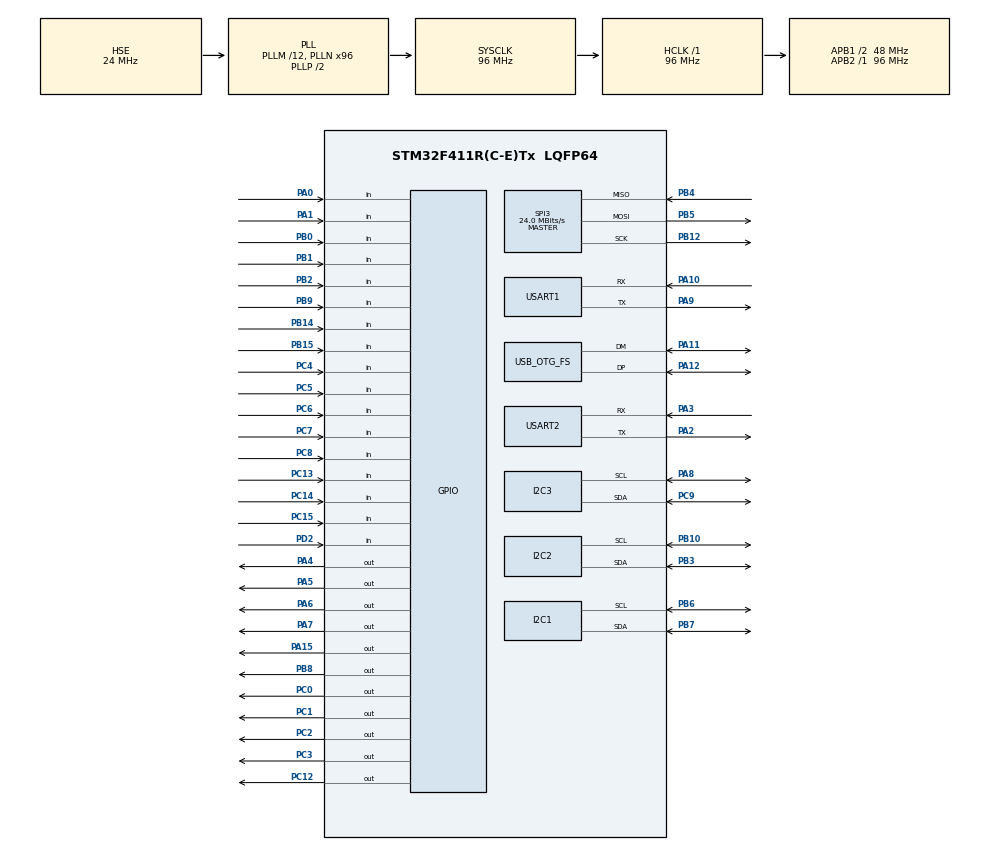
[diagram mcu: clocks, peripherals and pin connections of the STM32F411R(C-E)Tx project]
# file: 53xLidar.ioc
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I2C1.I2C_Mode=I2C_Fast
I2C2.I2C_Mode=I2C_Fast
I2C3.I2C_Mode=I2C_Fast
Mcu.Family=STM32F4
Mcu.Name=STM32F411R(C-E)Tx
Mcu.Package=LQFP64
NVIC.OTG_FS_IRQn=true\:0\:0\:false\:false\:true\:false\:true
NVIC.PriorityGroup=NVIC_PRIORITYGROUP_4
NVIC.USART1_IRQn=true\:0\:0\:false\:false\:true\:true\:true
PA0-WKUP.Signal=GPIO_Input
PA1.Signal=GPIO_Input
PA10.Mode=Asynchronous
PA10.Signal=USART1_RX
PA11.Mode=Device_Only
PA11.Signal=USB_OTG_FS_DM
PA12.Mode=Device_Only
PA12.Signal=USB_OTG_FS_DP
PA13.Mode=Serial_Wire
PA13.Signal=SYS_JTMS-SWDIO
PA14.Mode=Serial_Wire
PA14.Signal=SYS_JTCK-SWCLK
PA15.Signal=GPIO_Output
PA2.Mode=Asynchronous
PA2.Signal=USART2_TX
PA3.Mode=Asynchronous
PA3.Signal=USART2_RX
PA4.Signal=GPIO_Output
PA5.Signal=GPIO_Output
PA6.Signal=GPIO_Output
PA7.Signal=GPIO_Output
PA8.Mode=I2C
PA8.Signal=I2C3_SCL
PA9.Mode=Asynchronous
PA9.Signal=USART1_TX
PB0.Signal=GPIO_Input
PB1.Signal=GPIO_Input
PB10.Mode=I2C
PB10.Signal=I2C2_SCL
PB12.Mode=Full_Duplex_Master
PB12.Signal=SPI3_SCK
PB14.Signal=GPIO_Input
PB15.Signal=GPIO_Input
PB2.Signal=GPIO_Input
PB3.Mode=I2C
PB3.Signal=I2C2_SDA
PB4.Mode=Full_Duplex_Master
PB4.Signal=SPI3_MISO
PB5.Mode=Full_Duplex_Master
PB5.Signal=SPI3_MOSI
PB6.Mode=I2C
PB6.Signal=I2C1_SCL
PB7.Mode=I2C
PB7.Signal=I2C1_SDA
PB8.Signal=GPIO_Output
PB9.Signal=GPIO_Input
PC0.Signal=GPIO_Output
PC1.Signal=GPIO_Output
PC12.Signal=GPIO_Output
PC13-ANTI_TAMP.Signal=GPIO_Input
PC14-OSC32_IN.Signal=GPIO_Input
PC15-OSC32_OUT.Signal=GPIO_Input
PC2.Signal=GPIO_Output
PC3.Signal=GPIO_Output
PC4.Signal=GPIO_Input
PC5.Signal=GPIO_Input
PC6.Signal=GPIO_Input
PC7.Signal=GPIO_Input
PC8.Signal=GPIO_Input
PC9.Mode=I2C
PC9.Signal=I2C3_SDA
PD2.Signal=GPIO_Input
PH0\ -\ OSC_IN.Mode=HSE-External-Oscillator
PH0\ -\ OSC_IN.Signal=RCC_OSC_IN
PH1\ -\ OSC_OUT.Mode=HSE-External-Oscillator
PH1\ -\ OSC_OUT.Signal=RCC_OSC_OUT
ProjectManager.HeapSize=0x200
ProjectManager.StackSize=0x400
ProjectManager.TargetToolchain=STM32CubeIDE
RCC.48MHZClocksFreq_Value=48000000
RCC.AHBFreq_Value=96000000
RCC.APB1CLKDivider=RCC_HCLK_DIV2
RCC.APB1Freq_Value=48000000
RCC.APB1TimFreq_Value=96000000
RCC.APB2Freq_Value=96000000
RCC.APB2TimFreq_Value=96000000
RCC.CortexFreq_Value=96000000
RCC.HCLKFreq_Value=96000000
RCC.HSE_VALUE=24000000
RCC.HSI_VALUE=16000000
RCC.LSE_VALUE=32768
RCC.PLLM=12
RCC.PLLN=96
RCC.SYSCLKFreq_VALUE=96000000
RCC.SYSCLKSource=RCC_SYSCLKSOURCE_PLLCLK
RCC.VCOOutputFreq_Value=192000000
SPI3.BaudRatePrescaler=SPI_BAUDRATEPRESCALER_2
SPI3.CalculateBaudRate=24.0 MBits/s
SPI3.Direction=SPI_DIRECTION_2LINES
SPI3.Mode=SPI_MODE_MASTER
SPI3.VirtualType=VM_MASTER
USART1.VirtualMode=VM_ASYNC
USART2.VirtualMode=VM_ASYNC
USB_DEVICE.CLASS_NAME_FS=CDC
USB_DEVICE.VirtualMode=Cdc
USB_DEVICE.VirtualModeFS=Cdc_FS
USB_OTG_FS.VirtualMode=Device_Only
VP_USB_DEVICE_VS_USB_DEVICE_CDC_FS.Mode=CDC_FS
board=custom

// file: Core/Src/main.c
/* USER CODE BEGIN Header */
/**
  ******************************************************************************
  * @file           : main.c
  * @brief          : Main program body
  ******************************************************************************
  * @attention
  *
  * <h2><center>&copy; Copyright (c) 2020 STMicroelectronics.
  * All rights reserved.</center></h2>
  *
  * This software component is licensed by ST under Ultimate Liberty license
  * SLA0044, the "License"; You may not use this file except in compliance with
  * the License. You may obtain a copy of the License at:
  *                             www.st.com/SLA0044
  *
  ******************************************************************************
  */
/* USER CODE END Header */

#include "main.h"
#include "usb_device.h"

/* USER CODE BEGIN Includes */
#include "VL53L1X_api.h"

#include "WS2812.h"
/* USER CODE END Includes */

I2C_HandleTypeDef hi2c1;
I2C_HandleTypeDef hi2c2;
I2C_HandleTypeDef hi2c3;

SPI_HandleTypeDef hspi3;

UART_HandleTypeDef huart1;
UART_HandleTypeDef huart2;

void SystemClock_Config(void);
static void MX_GPIO_Init(void);
static void MX_I2C1_Init(void);
static void MX_I2C2_Init(void);
static void MX_I2C3_Init(void);
static void MX_SPI3_Init(void);
static void MX_USART1_UART_Init(void);
static void MX_USART2_UART_Init(void);

/* USER CODE BEGIN 0 */
struct Gpio {
	GPIO_TypeDef * const port;
	const uint16_t mask;
};

struct Gpio leds = { GPIOA, GPIO_PIN_15 };

struct Gpio xshut[] = { { GPIOC, GPIO_PIN_0 }, { GPIOC, GPIO_PIN_1 }, { GPIOC,
GPIO_PIN_2 }, { GPIOC, GPIO_PIN_3 }, { GPIOA, GPIO_PIN_4 }, { GPIOA,
GPIO_PIN_5 }, { GPIOA, GPIO_PIN_6 }, { GPIOA, GPIO_PIN_7 }, };
/*
 uint8_t interruptLidar[] = {
 PC4, PC5, PB0, PB1, PB2, PB14, PB15, PC6, PC7, PC8, PC15, PC13, PC14, PB9, PA0, PA1
 };
 */

struct {
	uint16_t dev;
	uint8_t valid;
} sensors[16];

int enableSensor(int i) {

	uint16_t dev = 0x29 << 1;
	if (i >= 8) {
		dev |= 0x100; //if 9th bit is 0 it will use I2C1,if 1 will use i2c2
	}

	VL53L1X_Error err;
	uint8_t is_booted = 0;
	do{
		err = VL53L1X_BootState(dev, &is_booted);
		HAL_Delay(2);
	}while(!is_booted && err == VL53L1_ERROR_NONE);

	if (err != VL53L1_ERROR_NONE) {
		uint8_t msg[] = "VL53L1X_BootState failed    \n";
		uint8_t len = sizeof(msg) - 1;
		msg[len - 1 - 1] = i + '0';
		msg[len - 3 - 1] = err + '0';
		HAL_UART_Transmit(&huart1, msg, len, 0xFFFF);
		return 1;
	} else {
		uint8_t msg[] = "VL53L1X_BootState OK  \n";
		uint8_t len = sizeof(msg) - 1;
		msg[len - 1 - 1] = i + '0';
		HAL_UART_Transmit(&huart1, msg, len, 0xFFFF);
	}

	/* Sensor Initialization */
	err = VL53L1X_SensorInit(dev);
	if (err != VL53L1_ERROR_NONE) {
		uint8_t msg[] = "VL53L1X_SensorInit failed    \n";
		uint8_t len = sizeof(msg) - 1;
		msg[len - 1 - 1] = i + '0';
		msg[len - 3 - 1] = err + '0';
		HAL_UART_Transmit(&huart1, msg, len, 0xFFFF);
		return 3;
	} else {
		uint8_t msg[] = "VL53L1X_SensorInit OK  \n";
		uint8_t len = sizeof(msg) - 1;
		msg[len - 1 - 1] = i + '0';
		HAL_UART_Transmit(&huart1, msg, len, 0xFFFF);
	}

	/* Modify the default configuration */
	err = VL53L1X_SetI2CAddress(dev, (0x29 + i + 1) << 1);
	dev = (0x29 + i + 1) << 1;
	if (i >= 8) {
		dev |= 0x100; //if 9th bit is 0 it will use I2C1,if 1 will use i2c2
	}
	if (err != VL53L1_ERROR_NONE) {
		uint8_t msg[] = "VL53L1X_SetI2CAddress failed    \n";
		uint8_t len = sizeof(msg) - 1;
		msg[len - 1 - 1] = i + '0';
		msg[len - 3 - 1] = err + '0';
		HAL_UART_Transmit(&huart1, msg, len, 0xFFFF);
		return 2;
	} else {
		uint8_t msg[] = "VL53L1X_SetI2CAddress OK  \n";
		uint8_t len = sizeof(msg) - 1;
		msg[len - 1 - 1] = i + '0';
		HAL_UART_Transmit(&huart1, msg, len, 0xFFFF);
	}

	err = VL53L1X_SetDistanceMode(dev, 2); // 2 = VL53L1X_DISTANCEMODE_LONG
	if (err != VL53L1_ERROR_NONE) {
		uint8_t msg[] = "VL53L1X_SetDistanceMode failed    \n";
		uint8_t len = sizeof(msg) - 1;
		msg[len - 1 - 1] = i + '0';
		msg[len - 3 - 1] = err + '0';
		HAL_UART_Transmit(&huart1, msg, len, 0xFFFF);
		return 5;
	} else {
		uint8_t msg[] = "VL53L1X_SetDistanceMode OK  \n";
		uint8_t len = sizeof(msg) - 1;
		msg[len - 1 - 1] = i + '0';
		HAL_UART_Transmit(&huart1, msg, len, 0xFFFF);
	}

	err = VL53L1X_SetTimingBudgetInMs(dev, 20);
	if (err != VL53L1_ERROR_NONE) {
		uint8_t msg[] =
				"VL53L1X_SetTimingBudgetInMs failed    \n";
		uint8_t len = sizeof(msg) - 1;
		msg[len - 1 - 1] = i + '0';
		msg[len - 3 - 1] = err + '0';
		HAL_UART_Transmit(&huart1, msg, len, 0xFFFF);
		return 6;
	} else {
		uint8_t msg[] = "VL53L1X_SetTimingBudgetInMs OK  \n";
		uint8_t len = sizeof(msg) - 1;
		msg[len - 1 - 1] = i + '0';
		HAL_UART_Transmit(&huart1, msg, len, 0xFFFF);
	}

	err = VL53L1X_SetInterMeasurementInMs(dev, 25);
	if (err != VL53L1_ERROR_NONE) {
		uint8_t msg[] =
				"VL53L1X_SetInterMeasurementInMs failed    \n";
		uint8_t len = sizeof(msg) - 1;
		msg[len - 1 - 1] = i + '0';
		msg[len - 3 - 1] = err + '0';
		HAL_UART_Transmit(&huart1, msg, len, 0xFFFF);
		return 7;
	} else {
		uint8_t msg[] = "VL53L1X_SetInterMeasurementInMs OK  \n";
		uint8_t len = sizeof(msg) - 1;
		msg[len - 1 - 1] = i + '0';
		HAL_UART_Transmit(&huart1, msg, len, 0xFFFF);
	}

	err = VL53L1X_StartRanging(dev);
	if (err != VL53L1_ERROR_NONE) {
		uint8_t msg[] = "VL53L1X_StartRanging failed    \n";
		uint8_t len = sizeof(msg) - 1;
		msg[len - 1 - 1] = i + '0';
		msg[len - 3 - 1] = err + '0';
		HAL_UART_Transmit(&huart1, msg, len, 0xFFFF);
		return 8;
	} else {
		uint8_t msg[] = "VL53L1X_StartRanging OK  \n";
		uint8_t len = sizeof(msg) - 1;
		msg[len - 1 - 1] = i + '0';
		HAL_UART_Transmit(&huart1, msg, len, 0xFFFF);
	}

	sensors[i].dev = dev;
	sensors[i].valid = 1;

	return 0;
}

void scan(I2C_HandleTypeDef *hi2c) {
	for (int i = 1; i < 128; i++) {
		/*
		 * the HAL wants a left aligned i2c address
		 * &hi2c1 is the handle
		 * (uint16_t)(i<<1) is the i2c address left aligned
		 * retries 2
		 * timeout 2
		 */
		HAL_StatusTypeDef result = HAL_I2C_IsDeviceReady(hi2c, (i << 1), 2, 2);
		if (result != HAL_OK) // HAL_ERROR or HAL_BUSY or HAL_TIMEOUT
				{
			HAL_UART_Transmit(&huart1, (uint8_t*)".", 1, 0xFFFF);
		}
		if (result == HAL_OK) {
			char buff[80];
			sprintf(buff, "0x%X\n", i << 1);
			HAL_UART_Transmit(&huart1, (uint8_t*)buff, strlen(buff), 0xFFFF);
		}
	}
	char buff[] = "\nSCAN FINISH\n";
	HAL_UART_Transmit(&huart1, (uint8_t*)buff, strlen(buff), 0xFFFF);
}

uint32_t ledColor[4];

void updateLed() {
	static int lastGreen = 0;
	static uint8_t first = 1;
	static uint32_t last = 0;
	if (!first) {
		// set back previus led
		if (lastGreen == 0) {
			ledColor[3] = last;
		} else {
			ledColor[lastGreen - 1] = last;
		}
	} else {
		first = 0;
	}
	//set current to blue and increment
	last = ledColor[lastGreen];
	ledColor[lastGreen] = 0x00FF00; //blue
	lastGreen++;

	//avoid overflow
	if (lastGreen >= 4) {
		lastGreen = 0;
	}

	sendColors(ledColor, 4);
}

/* USER CODE END 0 */

int main(void)
{

  /* MCU Configuration--------------------------------------------------------*/

  /* Reset of all peripherals, Initializes the Flash interface and the Systick. */
  HAL_Init();

  /* Configure the system clock */
  SystemClock_Config();

  /* Initialize all configured peripherals */
  MX_GPIO_Init();
  MX_I2C1_Init();
  MX_I2C2_Init();
  MX_I2C3_Init();
  MX_SPI3_Init();
  MX_USART1_UART_Init();
  MX_USART2_UART_Init();
  MX_USB_DEVICE_Init();
  /* USER CODE BEGIN 2 */
	// be sure to put all xshut to low
	HAL_GPIO_WritePin(GPIOC, GPIO_PIN_0 | GPIO_PIN_1 | GPIO_PIN_2 | GPIO_PIN_3,
			GPIO_PIN_RESET);
	HAL_GPIO_WritePin(GPIOA, GPIO_PIN_4 | GPIO_PIN_5 | GPIO_PIN_6 | GPIO_PIN_7,
			GPIO_PIN_RESET);

	for (int i = 0; i < 4; i++) {
		ledColor[i] = 0x0000FF; //set to blue
	}
	sendColors(ledColor, 4);

	HAL_Delay(1000);

	for (int i = 0; i < 8; i++) {
		HAL_GPIO_WritePin(xshut[i].port, xshut[i].mask, GPIO_PIN_SET);
		HAL_Delay(10);
		int error = 0;
		error += enableSensor(i); //i2c1
		error += enableSensor(i + 8); //i2c2

		if (error) {
			//HAL_GPIO_WritePin(xshut[i].port, xshut[i].mask, GPIO_PIN_RESET);
			ledColor[i / 2] = 0xFF0000; //set to red
			sendColors(ledColor, 4);
		} else {
			if (ledColor[i / 2] != 0xFF0000) {
				ledColor[i / 2] = 0; //turn off led
				sendColors(ledColor, 4);
			}
		}
	}
	scan(&hi2c1);
	scan(&hi2c2);

	int fps = 0;
	uint8_t buff[80];

	uint8_t msg[5]; // ~, 3 byte payload, checksum
	uint32_t start = HAL_GetTick();
	while (1) {

		for (int i = 0; i < 16; i++) {

			if (sensors[i].valid) {
				uint8_t ready = 0;
				VL53L1X_ERROR err = VL53L1X_CheckForDataReady(sensors[i].dev, &ready);

				if (!err && ready) {
					uint8_t range_status;
					err = VL53L1X_GetRangeStatus(sensors[i].dev, &range_status);
					if (err) {
						sprintf((char*) buff, "VL53L1X_GetRangeStatus error %d on sensor %d\n", err, i);
						HAL_UART_Transmit(&huart1, buff, strlen((char*) buff), 0xFFFF);
						continue;
					}

					uint16_t distance_mm;
					err = VL53L1X_GetDistance(sensors[i].dev, &distance_mm);
					if (err) {
						sprintf((char*) buff, "VL53L1X_GetDistance error %d on sensor %d\n", err, i);
						HAL_UART_Transmit(&huart1, buff, strlen((char*) buff), 0xFFFF);
						continue;
					}

					err = VL53L1X_ClearInterrupt(sensors[i].dev);
					if (err) {
						sprintf((char*) buff, "VL53L1X_ClearInterrupt error %d on sensor %d\n", err, i);
						HAL_UART_Transmit(&huart1, buff, strlen((char*) buff), 0xFFFF);
						continue;
					}

					msg[0] = '~';
					msg[1] = i;
					msg[2] = distance_mm;
					msg[3] = distance_mm >> 8;
					msg[4] = msg[0] + msg[1] + msg[2] + msg[3];

					sprintf((char*) buff, "%x\t%d\n", i, distance_mm);
					HAL_UART_Transmit(&huart1, buff, strlen((char*) buff), 0xFFFF);

					fps++;
				} else if (err) {
					sprintf((char*) buff, "VL53L1X_CheckForDataReady error %d on sensor %d\n", err, i);
					HAL_UART_Transmit(&huart1, buff, strlen((char*) buff), 0xFFFF);
					/*
					 maxErr--;
					 if (!maxErr){
					 sprintf((char*) buff, "reset\n");
					 HAL_UART_Transmit(&huart1, buff, strlen((char*) buff), 0xFFFF);
					 scan(&hi2c1);
					 MX_I2C1_Init();
					 scan(&hi2c1);
					 }
					 */
				} else {
					//sprintf((char*) buff, "not ready\n");0
					//HAL_UART_Transmit(&huart1, buff, strlen((char*) buff), 0xFFFF);
				}
			}
		}

		static uint32_t startLedSpin = 0;
		if (HAL_GetTick() - startLedSpin >= 100) {
			startLedSpin = HAL_GetTick();
			updateLed();
		}

		if (HAL_GetTick() - start >= 1000) {
			start = HAL_GetTick();
			sprintf((char*) buff, "FPS: %d\n", fps);
			HAL_UART_Transmit(&huart1, buff, strlen((char*) buff), 0xFFFF);
			fps = 0;
		}

	}
  /* USER CODE END 2 */

  /* Infinite loop */
  while (1)
  {

  }
}

void SystemClock_Config(void)
{
  RCC_OscInitTypeDef RCC_OscInitStruct = {0};
  RCC_ClkInitTypeDef RCC_ClkInitStruct = {0};

  /** Configure the main internal regulator output voltage
  */
  __HAL_RCC_PWR_CLK_ENABLE();
  __HAL_PWR_VOLTAGESCALING_CONFIG(PWR_REGULATOR_VOLTAGE_SCALE1);
  /** Initializes the CPU, AHB and APB busses clocks
  */
  RCC_OscInitStruct.OscillatorType = RCC_OSCILLATORTYPE_HSE;
  RCC_OscInitStruct.HSEState = RCC_HSE_ON;
  RCC_OscInitStruct.PLL.PLLState = RCC_PLL_ON;
  RCC_OscInitStruct.PLL.PLLSource = RCC_PLLSOURCE_HSE;
  RCC_OscInitStruct.PLL.PLLM = 12;
  RCC_OscInitStruct.PLL.PLLN = 96;
  RCC_OscInitStruct.PLL.PLLP = RCC_PLLP_DIV2;
  RCC_OscInitStruct.PLL.PLLQ = 4;
  if (HAL_RCC_OscConfig(&RCC_OscInitStruct) != HAL_OK)
  {
    Error_Handler();
  }
  /** Initializes the CPU, AHB and APB busses clocks
  */
  RCC_ClkInitStruct.ClockType = RCC_CLOCKTYPE_HCLK|RCC_CLOCKTYPE_SYSCLK
                              |RCC_CLOCKTYPE_PCLK1|RCC_CLOCKTYPE_PCLK2;
  RCC_ClkInitStruct.SYSCLKSource = RCC_SYSCLKSOURCE_PLLCLK;
  RCC_ClkInitStruct.AHBCLKDivider = RCC_SYSCLK_DIV1;
  RCC_ClkInitStruct.APB1CLKDivider = RCC_HCLK_DIV2;
  RCC_ClkInitStruct.APB2CLKDivider = RCC_HCLK_DIV1;

  if (HAL_RCC_ClockConfig(&RCC_ClkInitStruct, FLASH_LATENCY_3) != HAL_OK)
  {
    Error_Handler();
  }
}

static void MX_I2C1_Init(void)
{

  hi2c1.Instance = I2C1;
  hi2c1.Init.ClockSpeed = 400000;
  hi2c1.Init.DutyCycle = I2C_DUTYCYCLE_2;
  hi2c1.Init.OwnAddress1 = 0;
  hi2c1.Init.AddressingMode = I2C_ADDRESSINGMODE_7BIT;
  hi2c1.Init.DualAddressMode = I2C_DUALADDRESS_DISABLE;
  hi2c1.Init.OwnAddress2 = 0;
  hi2c1.Init.GeneralCallMode = I2C_GENERALCALL_DISABLE;
  hi2c1.Init.NoStretchMode = I2C_NOSTRETCH_DISABLE;
  if (HAL_I2C_Init(&hi2c1) != HAL_OK)
  {
    Error_Handler();
  }

}

static void MX_I2C2_Init(void)
{

  hi2c2.Instance = I2C2;
  hi2c2.Init.ClockSpeed = 400000;
  hi2c2.Init.DutyCycle = I2C_DUTYCYCLE_2;
  hi2c2.Init.OwnAddress1 = 0;
  hi2c2.Init.AddressingMode = I2C_ADDRESSINGMODE_7BIT;
  hi2c2.Init.DualAddressMode = I2C_DUALADDRESS_DISABLE;
  hi2c2.Init.OwnAddress2 = 0;
  hi2c2.Init.GeneralCallMode = I2C_GENERALCALL_DISABLE;
  hi2c2.Init.NoStretchMode = I2C_NOSTRETCH_DISABLE;
  if (HAL_I2C_Init(&hi2c2) != HAL_OK)
  {
    Error_Handler();
  }

}

static void MX_I2C3_Init(void)
{

  hi2c3.Instance = I2C3;
  hi2c3.Init.ClockSpeed = 400000;
  hi2c3.Init.DutyCycle = I2C_DUTYCYCLE_2;
  hi2c3.Init.OwnAddress1 = 0;
  hi2c3.Init.AddressingMode = I2C_ADDRESSINGMODE_7BIT;
  hi2c3.Init.DualAddressMode = I2C_DUALADDRESS_DISABLE;
  hi2c3.Init.OwnAddress2 = 0;
  hi2c3.Init.GeneralCallMode = I2C_GENERALCALL_DISABLE;
  hi2c3.Init.NoStretchMode = I2C_NOSTRETCH_DISABLE;
  if (HAL_I2C_Init(&hi2c3) != HAL_OK)
  {
    Error_Handler();
  }

}

static void MX_SPI3_Init(void)
{

  /* SPI3 parameter configuration*/
  hspi3.Instance = SPI3;
  hspi3.Init.Mode = SPI_MODE_MASTER;
  hspi3.Init.Direction = SPI_DIRECTION_2LINES;
  hspi3.Init.DataSize = SPI_DATASIZE_8BIT;
  hspi3.Init.CLKPolarity = SPI_POLARITY_LOW;
  hspi3.Init.CLKPhase = SPI_PHASE_1EDGE;
  hspi3.Init.NSS = SPI_NSS_SOFT;
  hspi3.Init.BaudRatePrescaler = SPI_BAUDRATEPRESCALER_2;
  hspi3.Init.FirstBit = SPI_FIRSTBIT_MSB;
  hspi3.Init.TIMode = SPI_TIMODE_DISABLE;
  hspi3.Init.CRCCalculation = SPI_CRCCALCULATION_DISABLE;
  hspi3.Init.CRCPolynomial = 10;
  if (HAL_SPI_Init(&hspi3) != HAL_OK)
  {
    Error_Handler();
  }

}

static void MX_USART1_UART_Init(void)
{

  huart1.Instance = USART1;
  huart1.Init.BaudRate = 115200;
  huart1.Init.WordLength = UART_WORDLENGTH_8B;
  huart1.Init.StopBits = UART_STOPBITS_1;
  huart1.Init.Parity = UART_PARITY_NONE;
  huart1.Init.Mode = UART_MODE_TX_RX;
  huart1.Init.HwFlowCtl = UART_HWCONTROL_NONE;
  huart1.Init.OverSampling = UART_OVERSAMPLING_16;
  if (HAL_UART_Init(&huart1) != HAL_OK)
  {
    Error_Handler();
  }

}

static void MX_USART2_UART_Init(void)
{

  huart2.Instance = USART2;
  huart2.Init.BaudRate = 115200;
  huart2.Init.WordLength = UART_WORDLENGTH_8B;
  huart2.Init.StopBits = UART_STOPBITS_1;
  huart2.Init.Parity = UART_PARITY_NONE;
  huart2.Init.Mode = UART_MODE_TX_RX;
  huart2.Init.HwFlowCtl = UART_HWCONTROL_NONE;
  huart2.Init.OverSampling = UART_OVERSAMPLING_16;
  if (HAL_UART_Init(&huart2) != HAL_OK)
  {
    Error_Handler();
  }

}

static void MX_GPIO_Init(void)
{
  GPIO_InitTypeDef GPIO_InitStruct = {0};

  /* GPIO Ports Clock Enable */
  __HAL_RCC_GPIOC_CLK_ENABLE();
  __HAL_RCC_GPIOH_CLK_ENABLE();
  __HAL_RCC_GPIOA_CLK_ENABLE();
  __HAL_RCC_GPIOB_CLK_ENABLE();
  __HAL_RCC_GPIOD_CLK_ENABLE();

  /*Configure GPIO pin Output Level */
  HAL_GPIO_WritePin(GPIOC, GPIO_PIN_0|GPIO_PIN_1|GPIO_PIN_2|GPIO_PIN_3
                          |GPIO_PIN_12, GPIO_PIN_RESET);

  /*Configure GPIO pin Output Level */
  HAL_GPIO_WritePin(GPIOA, GPIO_PIN_4|GPIO_PIN_5|GPIO_PIN_6|GPIO_PIN_7
                          |GPIO_PIN_15, GPIO_PIN_RESET);

  /*Configure GPIO pin Output Level */
  HAL_GPIO_WritePin(GPIOB, GPIO_PIN_8, GPIO_PIN_RESET);

  /*Configure GPIO pins : PC13 PC14 PC15 PC4
                           PC5 PC6 PC7 PC8 */
  GPIO_InitStruct.Pin = GPIO_PIN_13|GPIO_PIN_14|GPIO_PIN_15|GPIO_PIN_4
                          |GPIO_PIN_5|GPIO_PIN_6|GPIO_PIN_7|GPIO_PIN_8;
  GPIO_InitStruct.Mode = GPIO_MODE_INPUT;
  GPIO_InitStruct.Pull = GPIO_NOPULL;
  HAL_GPIO_Init(GPIOC, &GPIO_InitStruct);

  /*Configure GPIO pins : PC0 PC1 PC2 PC3
                           PC12 */
  GPIO_InitStruct.Pin = GPIO_PIN_0|GPIO_PIN_1|GPIO_PIN_2|GPIO_PIN_3
                          |GPIO_PIN_12;
  GPIO_InitStruct.Mode = GPIO_MODE_OUTPUT_PP;
  GPIO_InitStruct.Pull = GPIO_NOPULL;
  GPIO_InitStruct.Speed = GPIO_SPEED_FREQ_LOW;
  HAL_GPIO_Init(GPIOC, &GPIO_InitStruct);

  /*Configure GPIO pins : PA0 PA1 */
  GPIO_InitStruct.Pin = GPIO_PIN_0|GPIO_PIN_1;
  GPIO_InitStruct.Mode = GPIO_MODE_INPUT;
  GPIO_InitStruct.Pull = GPIO_NOPULL;
  HAL_GPIO_Init(GPIOA, &GPIO_InitStruct);

  /*Configure GPIO pins : PA4 PA5 PA6 PA7
                           PA15 */
  GPIO_InitStruct.Pin = GPIO_PIN_4|GPIO_PIN_5|GPIO_PIN_6|GPIO_PIN_7
                          |GPIO_PIN_15;
  GPIO_InitStruct.Mode = GPIO_MODE_OUTPUT_PP;
  GPIO_InitStruct.Pull = GPIO_NOPULL;
  GPIO_InitStruct.Speed = GPIO_SPEED_FREQ_LOW;
  HAL_GPIO_Init(GPIOA, &GPIO_InitStruct);

  /*Configure GPIO pins : PB0 PB1 PB2 PB14
                           PB15 PB9 */
  GPIO_InitStruct.Pin = GPIO_PIN_0|GPIO_PIN_1|GPIO_PIN_2|GPIO_PIN_14
                          |GPIO_PIN_15|GPIO_PIN_9;
  GPIO_InitStruct.Mode = GPIO_MODE_INPUT;
  GPIO_InitStruct.Pull = GPIO_NOPULL;
  HAL_GPIO_Init(GPIOB, &GPIO_InitStruct);

  /*Configure GPIO pin : PD2 */
  GPIO_InitStruct.Pin = GPIO_PIN_2;
  GPIO_InitStruct.Mode = GPIO_MODE_INPUT;
  GPIO_InitStruct.Pull = GPIO_NOPULL;
  HAL_GPIO_Init(GPIOD, &GPIO_InitStruct);

  /*Configure GPIO pin : PB8 */
  GPIO_InitStruct.Pin = GPIO_PIN_8;
  GPIO_InitStruct.Mode = GPIO_MODE_OUTPUT_PP;
  GPIO_InitStruct.Pull = GPIO_NOPULL;
  GPIO_InitStruct.Speed = GPIO_SPEED_FREQ_LOW;
  HAL_GPIO_Init(GPIOB, &GPIO_InitStruct);

}

void Error_Handler(void)
{
}

/************************ (C) COPYRIGHT STMicroelectronics *****END OF FILE****/
